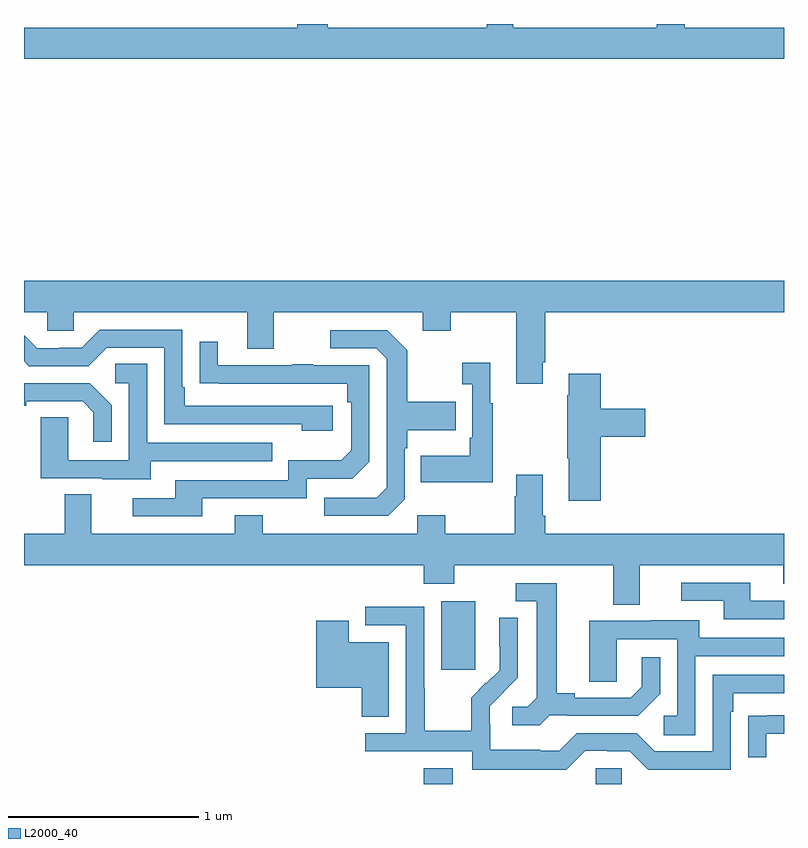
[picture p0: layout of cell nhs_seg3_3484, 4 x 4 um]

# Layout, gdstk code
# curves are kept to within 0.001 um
import gdstk
lib = gdstk.Library(unit=1e-6, precision=1e-09)
def R(c, l, rs):  # rectangles x0, y0, x1, y1
    for r in rs: c.add(gdstk.rectangle(r[:2], r[2:], *l))
def P(c, l, *ps):  # polygons
    for p in ps: c.add(gdstk.Polygon(p, *l))
L2000_40 = (2000, 40)

nhs_seg3_3484 = lib.new_cell('nhs_seg3_3484')
R(nhs_seg3_3484, L2000_40, [(293.105,730.4,293.257,730.483), (294.009,730.4,294.147,730.482), (293.195,731.001,293.374,731.362)])
P(nhs_seg3_3484, L2000_40, [(295,734.38),(294.477,734.38),(294.477,734.4),(294.329,734.4),(294.329,734.38),(293.575,734.38),(293.575,734.4),(293.435,734.4),(293.435,734.38),(292.599,734.38),(292.599,734.4),(292.439,734.4),(292.439,734.38),(291,734.38),(291,734.216),(295,734.216)],
  [(293.731,732.619),(293.744,732.619),(293.744,732.884),(295,732.884),(295,733.048),(291,733.048),(291,732.884),(291.123,732.884),(291.123,732.786),(291.261,732.786),(291.261,732.884),(292.175,732.884),(292.175,732.69),(292.315,732.69),(292.315,732.884),(293.099,732.884),(293.099,732.785),(293.247,732.785),(293.247,732.884),(293.591,732.884),(293.591,732.507),(293.731,732.507)],
  [(292.624,732.39),(291.847,732.39),(291.847,732.487),(291.834,732.487),(291.834,732.792),(291.399,732.792),(291.303,732.696),(291.185,732.696),(291.185,732.693),(291.069,732.693),(291,732.762),(291,732.624),(291.024,732.6),(291.339,732.6),(291.435,732.696),(291.738,732.696),(291.738,732.294),(292.463,732.294),(292.463,732.26),(292.624,732.26)],
  [(293.004,731.898),(293.004,732.167),(293.017,732.167),(293.017,732.263),(293.273,732.263),(293.273,732.411),(293.017,732.411),(293.017,732.683),(292.911,732.789),(292.611,732.789),(292.611,732.693),(292.854,732.693),(292.908,732.639),(292.908,731.958),(292.857,731.907),(292.581,731.907),(292.581,731.811),(292.917,731.811)],
  [(291.937,731.904),(292.488,731.904),(292.488,732.006),(292.728,732.006),(292.818,732.096),(292.818,732.603),(292.523,732.603),(292.523,732.608),(292.411,732.608),(292.411,732.603),(292.021,732.603),(292.021,732.727),(291.925,732.727),(291.925,732.508),(292.702,732.507),(292.702,732.41),(292.722,732.41),(292.722,732.156),(292.669,732.103),(292.392,732.103),(292.392,732),(291.797,732),(291.797,731.904),(291.573,731.904),(291.573,731.808),(291.937,731.808)],
  [(293.467,732.403),(293.455,732.403),(293.455,732.616),(293.307,732.616),(293.307,732.503),(293.358,732.503),(293.358,732.223),(293.346,732.223),(293.346,732.127),(293.089,732.127),(293.089,731.987),(293.467,731.987)],
  [(291.667,732.099),(292.307,732.099),(292.307,732.195),(291.648,732.195),(291.648,732.611),(291.48,732.611),(291.48,732.51),(291.552,732.51),(291.552,732.105),(291.234,732.105),(291.234,732.329),(291.089,732.329),(291.089,732.009),(291.413,732.009),(291.413,732.005),(291.667,732.005)],
  [(294.035,732.227),(294.271,732.227),(294.271,732.374),(294.035,732.374),(294.035,732.559),(293.867,732.559),(293.867,732.446),(293.86,732.446),(293.86,732.115),(293.867,732.115),(293.867,731.892),(294.035,731.892)],
  [(291.462,732.394),(291.346,732.51),(291,732.51),(291,732.392),(291.013,732.392),(291.013,732.414),(291.308,732.414),(291.365,732.357),(291.365,732.201),(291.462,732.201)],
  [(294.241,731.552),(294.995,731.552),(294.995,731.453),(295,731.453),(295,731.716),(293.744,731.716),(293.744,731.812),(293.731,731.812),(293.731,732.028),(293.591,732.028),(293.591,731.915),(293.584,731.915),(293.584,731.716),(293.217,731.716),(293.217,731.815),(293.07,731.815),(293.07,731.716),(292.257,731.716),(292.257,731.815),(292.109,731.815),(292.109,731.716),(291.355,731.716),(291.355,731.924),(291.215,731.924),(291.215,731.716),(291,731.716),(291,731.552),(293.105,731.552),(293.105,731.453),(293.265,731.453),(293.265,731.552),(294.101,731.552),(294.101,731.344),(294.241,731.344)],
  [(295,731.364),(294.823,731.364),(294.823,731.46),(294.459,731.46),(294.459,731.364),(294.683,731.364),(294.683,731.268),(295,731.268)],
  [(293.766,730.761),(293.86,730.761),(293.86,730.758),(294.232,730.758),(294.348,730.874),(294.348,731.068),(294.251,731.068),(294.251,730.911),(294.194,730.854),(293.899,730.854),(293.899,730.877),(293.803,730.877),(293.803,731.457),(293.589,731.457),(293.589,731.361),(293.699,731.361),(293.699,730.853),(293.652,730.806),(293.571,730.806),(293.571,730.709),(293.714,730.709)],
  [(293.955,730.575),(294.071,730.575),(294.071,730.572),(294.189,730.572),(294.285,730.476),(294.72,730.476),(294.72,730.781),(294.733,730.781),(294.733,730.878),(295,730.878),(295,730.974),(294.624,730.974),(294.624,730.572),(294.321,730.572),(294.225,730.668),(293.91,730.668),(293.817,730.575),(293.717,730.575),(293.717,730.579),(293.454,730.579),(293.454,730.713),(293.452,730.713),(293.452,730.81),(293.598,730.958),(293.598,731.276),(293.502,731.276),(293.502,731.122),(293.504,731.122),(293.504,731),(293.433,730.929),(293.43,730.932),(293.353,730.855),(293.353,730.681),(293.109,730.681),(293.109,730.904),(293.106,730.904),(293.106,731.334),(292.797,731.334),(292.797,731.235),(293.01,731.235),(293.01,730.668),(292.797,730.668),(292.797,730.572),(293.358,730.572),(293.358,730.475),(293.855,730.475)],
  [(294.534,731.073),(295,731.073),(295,731.169),(294.553,731.169),(294.553,731.263),(294.299,731.263),(294.299,731.259),(293.975,731.259),(293.975,730.939),(294.12,730.939),(294.12,731.163),(294.438,731.163),(294.438,730.758),(294.366,730.758),(294.366,730.657),(294.534,730.657)],
  [(292.921,731.146),(292.708,731.146),(292.708,731.26),(292.538,731.26),(292.538,730.907),(292.778,730.907),(292.778,730.753),(292.921,730.753)],
  [(294.907,730.665),(295,730.665),(295,730.761),(294.913,730.761),(294.913,730.76),(294.811,730.76),(294.811,730.542),(294.907,730.542)])

lib.write_gds('nhs_seg3_3484.gds')
